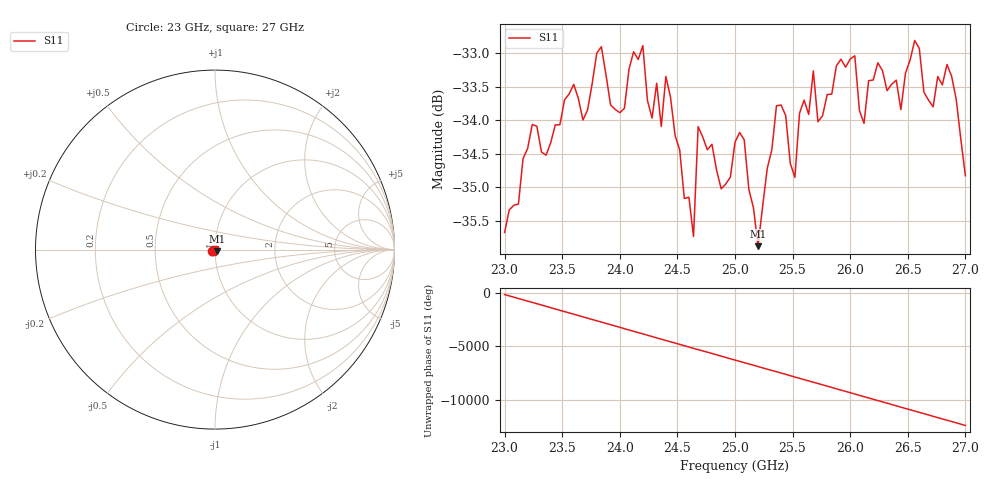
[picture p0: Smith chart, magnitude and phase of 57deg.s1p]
#  HZ  S  RI  R  50.00
! Rohde & Schwarz ZVA40 4Ports - Version 3.90 - 1145.1110k42 SN: 100403
! Date: 2023-09-26 10:47:18
! Measurement: S12
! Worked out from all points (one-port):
!   101 points, 23 GHz to 27 GHz, reference 50 ohm
!   lowest |S11| = -35.9 dB at 25.2 GHz (marker M1), VSWR 1.03, Z = 51.3 - j1.03 ohm
!   |S11| at or under -10 dB: start of sweep to end of sweep
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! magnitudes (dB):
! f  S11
! 23 GHz  -35.7
! 23.24 GHz  -34.1
! 23.52 GHz  -33.7
! 23.68 GHz  -34.0
! 23.84 GHz  -32.9
! 24 GHz  -33.9
! 24.2 GHz  -32.9
! 24.28 GHz  -34.0
! 24.4 GHz  -33.3
! 24.52 GHz  -34.4
! 24.64 GHz  -35.7
! 24.68 GHz  -34.1
! 24.88 GHz  -35.0
! 25 GHz  -34.3
! 25.08 GHz  -34.3
! 25.2 GHz  -35.9
! 25.36 GHz  -33.8
! 25.52 GHz  -34.9
! 25.68 GHz  -33.3
! 25.72 GHz  -34.0
! 26 GHz  -33.1
! 26.12 GHz  -34.0
! 26.24 GHz  -33.1
! 26.44 GHz  -33.8
! 26.52 GHz  -33.1
! 26.72 GHz  -33.8
! 26.84 GHz  -33.2
! 27 GHz  -34.8
